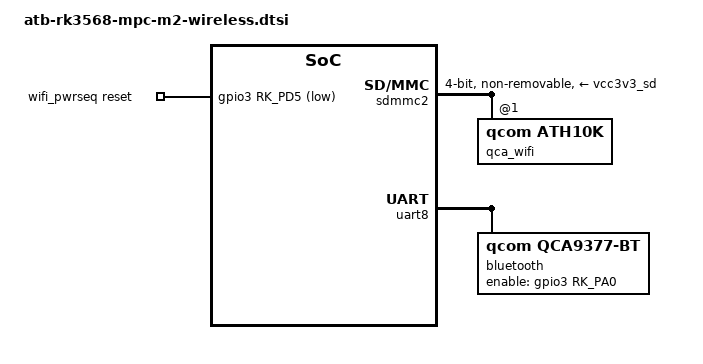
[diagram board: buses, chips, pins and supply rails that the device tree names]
#include <dt-bindings/input/input.h>

/ {
	wifi_pwrseq: wifi-pwrseq {
		compatible = "mmc-pwrseq-simple";
		clocks = <&rtc_clock>;
		clock-names = "ext_clock";
		pinctrl-names = "default";
		pinctrl-0 = <&wlan_en_pin>;
		reset-gpios = <&gpio3 RK_PD5 GPIO_ACTIVE_LOW>;
	};
};

&sdmmc2 {
	// WiFi & BT combo module Fn-Link FG6233ASRB-01 / Fn-Link 8223A-SR
	mmc-pwrseq = <&wifi_pwrseq>;

	pinctrl-names = "default";
	pinctrl-0 = <&sdmmc2m0_bus4 &sdmmc2m0_clk &sdmmc2m0_cmd>;
	
	vmmc-supply = <&vcc3v3_sd>;
	vqmmc-supply = <&vccio_sd>;

	bus-width = <4>;
	max-frequency = <200000000>;
	cap-sd-highspeed;
	cap-sdio-irq;
	keep-power-in-suspend;
	non-removable;

	sd-uhs-sdr50;
	sd-uhs-sdr104;
	enable-sdio-wakeup;
	no-mmc;
	no-sd;

	status = "okay";

	qca_wifi: qca-wifi@1 {
		reg = <1>;
		compatible = "qcom,ath10k";
	};
};

&uart8 {
	pinctrl-names = "default";
	pinctrl-0 = <&uart8m0_xfer &uart8m0_ctsn &uart8m0_rtsn>;
	uart-has-rtscts;
	status = "okay";

	bluetooth {
		compatible = "qcom,qca9377-bt";
		max-speed = <2000000>;

		pinctrl-names = "default";
		pinctrl-0 = <&bt_en_pin>;
		enable-gpios = <&gpio3 RK_PA0 GPIO_ACTIVE_HIGH>;
	};
};

&pinctrl {

	wireless {
		wlan_en_pin: wlan-en-pin {
			rockchip,pins = <3 RK_PD5 RK_FUNC_GPIO &pcfg_pull_none>;
		};

		bt_en_pin: bt-en-pin {
			rockchip,pins = <3 RK_PA0 RK_FUNC_GPIO &pcfg_pull_none>;
		};
	};
};
